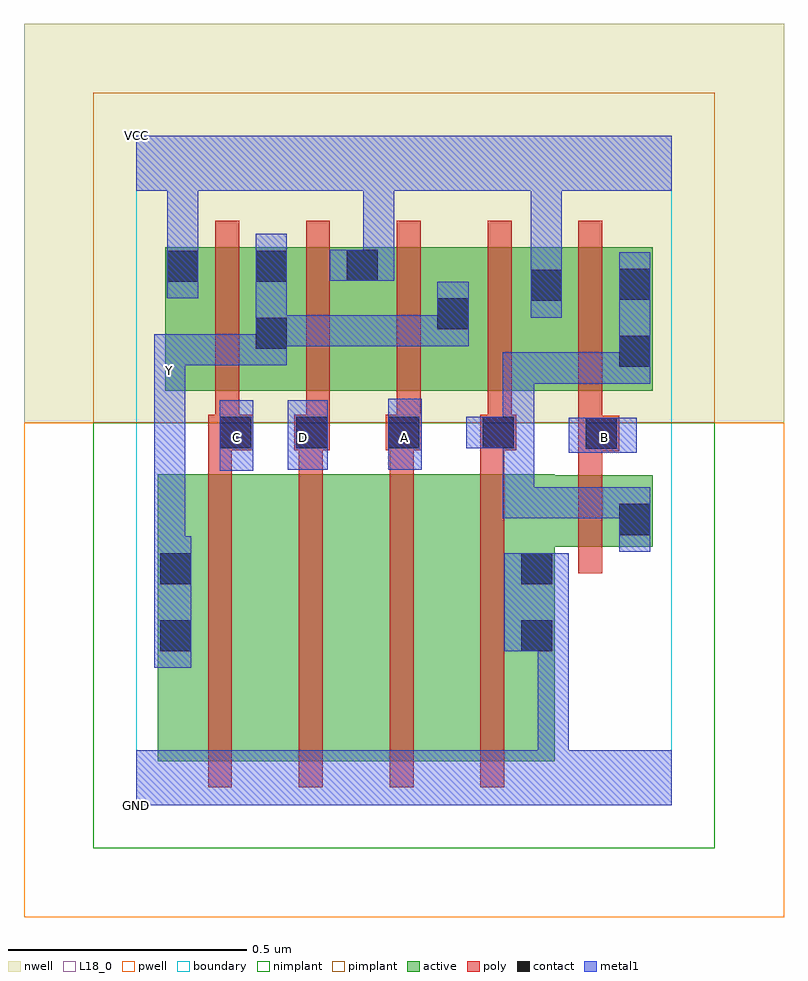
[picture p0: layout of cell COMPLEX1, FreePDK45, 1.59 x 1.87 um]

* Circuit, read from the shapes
.subckt COMPLEX1 A B C D GND VCC Y
M1 n1 C Y VSUBS nfet w=0.6u l=0.05u
M2 n2 D n1 VSUBS nfet w=0.6u l=0.05u
M3 n3 A n2 VSUBS nfet w=0.6u l=0.05u
M4 GND n4 n3 VSUBS nfet w=0.6u l=0.05u
M5 n4 B GND VSUBS nfet w=0.15u l=0.05u
M6 Y C VCC n5 pfet w=0.3u l=0.05u
M7 VCC D Y n5 pfet w=0.3u l=0.05u
M8 Y A VCC n5 pfet w=0.3u l=0.05u
M9 VCC n4 Y n5 pfet w=0.3u l=0.05u
M10 n4 B VCC n5 pfet w=0.3u l=0.05u
.ends

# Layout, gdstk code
import gdstk
lib = gdstk.Library(unit=1e-6, precision=1e-09)
def R(c, l, rs):  # rectangles x0, y0, x1, y1
    for r in rs: c.add(gdstk.rectangle(r[:2], r[2:], *l))
def A(c, l, x, y, w, h, nx, ny, dx, dy):  # array of equal rectangles
    R(c, l, [(x+i*dx, y+j*dy, x+i*dx+w, y+j*dy+h) for i in range(nx) for j in range(ny)])
active = (1, 0)
pwell = (2, 0)
nwell = (3, 0)
nimplant = (4, 0)
pimplant = (5, 0)
poly = (9, 0)
contact = (10, 0)
metal1 = (11, 0)
L18_0 = (18, 0)
boundary = (235, 0)

complex1 = lib.new_cell('COMPLEX1')
R(complex1, active, [(0.045,0.092,0.27,0.692), (0.27,0.092,0.46,0.692), (0.46,0.092,0.65,0.692), (0.65,0.092,0.875,0.692), (0.8,0.092,0.875,0.69), (0.045,0.145,0.15,0.692), (0.8,0.54,1.08,0.69), (1.005,0.54,1.08,0.69), (0.06,0.867,0.32,1.167), (0.06,0.867,0.135,1.167), (0.245,0.867,0.51,1.167), (0.435,0.867,0.7,1.167), (0.625,0.867,0.7,1.167), (0.625,0.867,0.895,1.167), (0.82,0.867,1.08,1.167), (0.82,0.867,0.895,1.167), (1.005,0.867,1.08,1.165), (0.245,0.907,0.32,1.167), (0.435,1.002,0.51,1.167)])
R(complex1, pwell, [(-0.235,-0.235,1.355,0.8)])
R(complex1, nwell, [(-0.235,0.8,1.355,1.635)])
R(complex1, nimplant, [(-0.09,-0.09,1.21,0.8)])
R(complex1, pimplant, [(-0.09,0.8,1.21,1.49)])
A(complex1, poly, 0.15, 0.037, 0.05, 0.71, 4, 1, 0.19, 0)
A(complex1, poly, 0.15, 0.697, 0.05, 0.095, 4, 1, 0.19, 0)
A(complex1, poly, 0.165, 0.767, 0.05, 0.095, 4, 1, 0.19, 0)
A(complex1, poly, 0.165, 0.812, 0.05, 0.41, 5, 1, 0.19, 0)
R(complex1, poly, [(0.925,0.485,0.975,0.745), (0.925,0.695,0.975,0.79), (0.925,0.74,1.01,0.815), (0.15,0.742,0.245,0.817), (0.33,0.742,0.405,0.817), (0.522,0.742,0.597,0.817), (0.72,0.742,0.795,0.817), (0.925,0.765,0.975,0.862)])
R(complex1, contact, [(0.05,0.322,0.115,0.387), (0.805,0.322,0.87,0.387), (0.05,0.462,0.115,0.527), (0.805,0.462,0.87,0.527), (1.01,0.565,1.075,0.63), (0.94,0.745,1.005,0.81), (0.175,0.747,0.24,0.812), (0.335,0.747,0.4,0.812), (0.527,0.747,0.592,0.812), (0.725,0.747,0.79,0.812), (1.01,0.917,1.075,0.982), (0.25,0.955,0.315,1.02), (0.63,0.995,0.695,1.06), (0.825,1.055,0.89,1.12), (1.01,1.057,1.075,1.122), (0.065,1.095,0.13,1.16), (0.25,1.095,0.315,1.16), (0.44,1.097,0.505,1.162)])
R(complex1, metal1, [(0,0,1.12,0.115), (0.84,0.05,0.905,0.115), (0.84,0.05,0.905,0.115), (0.84,0.05,0.905,0.387), (0.037,0.287,0.115,0.562), (0.77,0.322,0.905,0.527), (0.037,0.497,0.102,0.907), (1.01,0.53,1.075,0.665), (0.767,0.6,0.832,0.665), (0.767,0.6,1.075,0.665), (0.767,0.6,0.832,0.812), (1.01,0.6,1.075,0.665), (1.01,0.6,1.075,0.665), (0.175,0.7,0.245,0.847), (0.317,0.702,0.4,0.847), (0.527,0.702,0.597,0.85), (0.905,0.737,1.047,0.81), (0.69,0.747,0.825,0.812), (0.76,0.747,0.832,0.812), (0.767,0.747,0.832,0.812), (0.767,0.747,0.832,0.947), (0.037,0.842,0.102,0.985), (0.767,0.882,0.832,0.947), (0.767,0.882,1.075,0.947), (1.01,0.882,1.075,0.947), (1.01,0.882,1.075,0.947), (1.01,0.882,1.075,1.157), (0.037,0.92,0.102,0.985), (0.037,0.92,0.102,0.985), (0.037,0.92,0.102,0.985), (0.037,0.92,0.102,0.985), (0.037,0.92,0.315,0.985), (0.25,0.92,0.315,1.195), (0.25,0.96,0.315,1.025), (0.25,0.96,0.315,1.025), (0.25,0.96,0.557,1.025), (0.492,0.96,0.557,1.025), (0.492,0.96,0.557,1.025), (0.492,0.96,0.557,1.025), (0.492,0.96,0.695,1.025), (0.63,0.96,0.695,1.095), (0.825,1.02,0.89,1.155), (0.065,1.06,0.13,1.195), (0.825,1.09,0.89,1.35), (0.405,1.097,0.54,1.162), (0.475,1.097,0.54,1.35), (0.065,1.13,0.13,1.195), (0.065,1.13,0.13,1.195), (0.065,1.13,0.13,1.35), (0,1.285,1.12,1.4), (0.475,1.285,0.54,1.35), (0.475,1.285,0.54,1.35), (0.825,1.285,0.89,1.35), (0.825,1.285,0.89,1.35)])
R(complex1, L18_0, [(0,0,1.12,0.115), (0.84,0.05,0.905,0.115), (0.84,0.05,0.905,0.115), (0.84,0.05,0.905,0.387), (0.037,0.287,0.115,0.562), (0.77,0.322,0.905,0.527), (0.037,0.497,0.102,0.907), (0.175,0.7,0.245,0.847), (0.317,0.702,0.4,0.847), (0.527,0.702,0.597,0.85), (0.177,0.737,0.242,0.802), (0.317,0.737,0.382,0.802), (0.527,0.737,0.592,0.802), (0.905,0.737,1.047,0.81), (0.947,0.737,1.012,0.802), (0.037,0.842,0.102,0.985), (0.037,0.877,0.102,0.942), (0.037,0.92,0.102,0.985), (0.037,0.92,0.102,0.985), (0.037,0.92,0.102,0.985), (0.037,0.92,0.102,0.985), (0.037,0.92,0.315,0.985), (0.25,0.92,0.315,1.195), (0.25,0.96,0.315,1.025), (0.25,0.96,0.315,1.025), (0.25,0.96,0.557,1.025), (0.492,0.96,0.557,1.025), (0.492,0.96,0.557,1.025), (0.492,0.96,0.557,1.025), (0.492,0.96,0.695,1.025), (0.63,0.96,0.695,1.095), (0.825,1.02,0.89,1.155), (0.065,1.06,0.13,1.195), (0.825,1.09,0.89,1.35), (0.405,1.097,0.54,1.162), (0.475,1.097,0.54,1.35), (0.065,1.13,0.13,1.195), (0.065,1.13,0.13,1.195), (0.065,1.13,0.13,1.35), (0,1.285,1.12,1.4), (0.475,1.285,0.54,1.35), (0.475,1.285,0.54,1.35), (0.825,1.285,0.89,1.35), (0.825,1.285,0.89,1.35)])
R(complex1, boundary, [(0,0,1.12,1.4)])
complex1.add(gdstk.Label('A', (0.56,0.77), layer=11, texttype=0))
complex1.add(gdstk.Label('B', (0.98,0.77), layer=11, texttype=0))
complex1.add(gdstk.Label('C', (0.21,0.77), layer=11, texttype=0))
complex1.add(gdstk.Label('D', (0.35,0.77), layer=11, texttype=0))
complex1.add(gdstk.Label('Y', (0.07,0.91), layer=11, texttype=0))
complex1.add(gdstk.Label('VCC', (0,1.4), layer=11, texttype=0))
complex1.add(gdstk.Label('GND', (0,0), layer=11, texttype=0))

lib.write_gds('COMPLEX1.gds')
